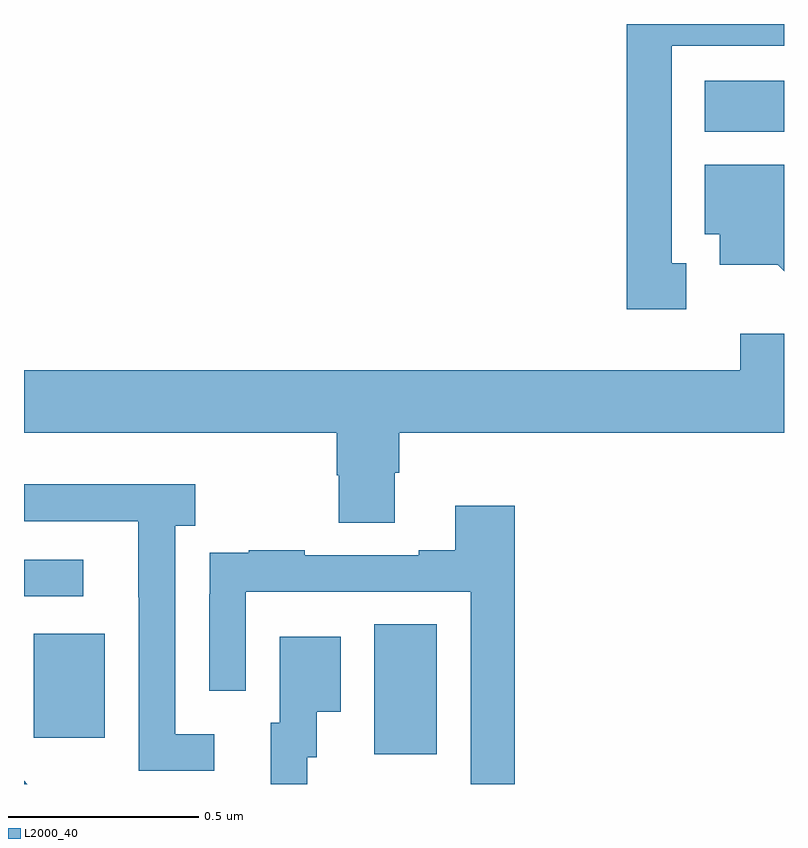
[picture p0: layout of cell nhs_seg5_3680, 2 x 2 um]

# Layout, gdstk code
import gdstk
lib = gdstk.Library(unit=1e-6, precision=1e-09)
def R(c, l, rs):  # rectangles x0, y0, x1, y1
    for r in rs: c.add(gdstk.rectangle(r[:2], r[2:], *l))
def P(c, l, *ps):  # polygons
    for p in ps: c.add(gdstk.Polygon(p, *l))
L2000_40 = (2000, 40)

nhs_seg5_3680 = lib.new_cell('nhs_seg5_3680')
R(nhs_seg5_3680, L2000_40, [(160.922,891.877,161.086,892.22), (160.025,891.921,160.213,892.195), (160,892.293,160.156,892.389), (161.792,893.516,162,893.65)])
P(nhs_seg5_3680, L2000_40, [(161.743,893.169),(161.704,893.169),(161.704,893.742),(162,893.742),(162,893.799),(161.586,893.799),(161.586,893.049),(161.743,893.049)],
  [(162,893.428),(161.792,893.428),(161.792,893.246),(161.831,893.246),(161.831,893.165),(161.983,893.165),(162,893.148)],
  [(160.975,892.618),(160.988,892.618),(160.988,892.724),(162,892.724),(162,892.984),(161.885,892.984),(161.885,892.888),(160,892.888),(160,892.724),(160.823,892.724),(160.823,892.611),(160.828,892.611),(160.828,892.486),(160.975,892.486)],
  [(160.501,891.93),(160.398,891.93),(160.398,892.478),(160.45,892.478),(160.45,892.588),(160,892.588),(160,892.491),(160.301,892.491),(160.301,892.291),(160.302,892.291),(160.302,891.834),(160.501,891.834)],
  [(161.291,892.531),(161.135,892.531),(161.135,892.414),(161.039,892.414),(161.039,892.401),(160.739,892.401),(160.739,892.414),(160.591,892.414),(160.591,892.407),(160.489,892.407),(160.489,892.298),(160.488,892.298),(160.488,892.044),(160.584,892.044),(160.584,892.305),(161.175,892.305),(161.175,891.799),(161.291,891.799)],
  [(160.746,891.87),(160.771,891.87),(160.771,891.989),(160.834,891.989),(160.834,892.186),(160.673,892.186),(160.673,891.96),(160.649,891.96),(160.649,891.799),(160.746,891.799)],
  [(160,891.807),(160,891.799),(160.008,891.799)])

lib.write_gds('nhs_seg5_3680.gds')
